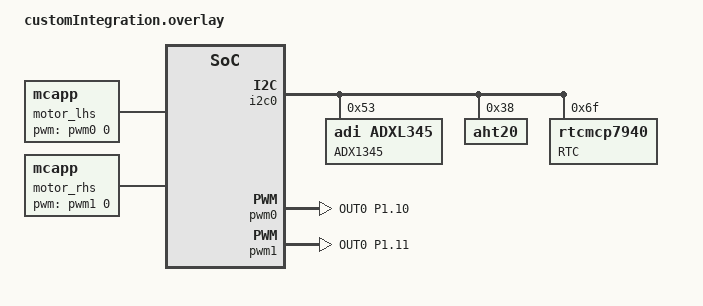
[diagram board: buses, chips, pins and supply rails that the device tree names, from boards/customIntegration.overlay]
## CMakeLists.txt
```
cmake_minimum_required(VERSION 3.20.0)



# Add our modules directory to Zephyr Modules
list(APPEND ZEPHYR_EXTRA_MODULES ${CMAKE_CURRENT_SOURCE_DIR}/modules)


# Set project, dts and board directories
set(PROJ_ROOT ${CMAKE_CURRENT_SOURCE_DIR}/)
set(DTS_ROOT ${CMAKE_CURRENT_SOURCE_DIR}/dts)
set(BOARD_ROOT ${CMAKE_CURRENT_LIST_DIR})


find_package(Zephyr REQUIRED HINTS $ENV{ZEPHYR_BASE})

project(BLESmartLock)



target_sources(app PRIVATE 
src/main.c
src/BLE/BLEapp.c
src/crypto/cryptoapp.c
src/motorcontrol/mcapp.c
src/System/bib.c
src/System/sys_flash.c
)


# Include application events and configuration headers
target_include_directories(app PRIVATE
  src
  src/BLE
  src/crypto
  src/motorcontrol
  src/System
)
```

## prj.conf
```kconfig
# Enable loggin
CONFIG_LOG=y


# Enable support for DK board
CONFIG_GPIO=y
CONFIG_DK_LIBRARY=y

# Enable bluetooth related flags
CONFIG_BT=y
CONFIG_BT_PERIPHERAL=y
CONFIG_BT_DEVICE_NAME="Smart_Lock"
CONFIG_BT_DEVICE_APPEARANCE=28
CONFIG_BT_LL_SOFTDEVICE=y
CONFIG_BT_BUF_ACL_RX_SIZE=251

# L2CAP SDU/PDU TX MTU
CONFIG_BT_L2CAP_TX_MTU=247


# internal Flash
CONFIG_FLASH=y
CONFIG_FLASH_PAGE_LAYOUT=y
CONFIG_MPU_ALLOW_FLASH_WRITE=y
CONFIG_SOC_FLASH_NRF_EMULATE_ONE_BYTE_WRITE_ACCESS=y
CONFIG_FCB=y
CONFIG_FLASH_MAP=y
CONFIG_SETTINGS=y
CONFIG_SETTINGS_FCB=y

# Sensor
CONFIG_I2C=y
CONFIG_SENSOR=y
CONFIG_ADXL345=y


CONFIG_CUSTOM_AHT20=y
CONFIG_CUSTOM_RTCMCP7940=y
CONFIG_CUSTOM_RTCMCP7940_LOG_LEVEL=4
CONFIG_CBPRINTF_FP_SUPPORT=y

# PWM
CONFIG_PWM=y


# cryptography
# Enable nordic security backend and PSA APIs
CONFIG_NRF_SECURITY=y
CONFIG_MBEDTLS_PSA_CRYPTO_C=y

CONFIG_MBEDTLS_ENABLE_HEAP=y
CONFIG_MBEDTLS_HEAP_SIZE=8192

CONFIG_PSA_WANT_GENERATE_RANDOM=y
CONFIG_PSA_WANT_KEY_TYPE_AES=y
CONFIG_PSA_WANT_ALG_CTR=y
```

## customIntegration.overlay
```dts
&i2c0 {
	adxl345@53 {
		compatible = "adi,adxl345";
			reg = < 0x53 >;
		label = "ADX1345";
		
			//interrupts = < 27 26 >;
		};

       aht20@38 {
        compatible = "zephyr,aht20";
        reg = <0x38>;
       };
};



&pinctrl {
    pwm0_custom_motor: pwm0_custom_motor {
        group1 {
            psels = <NRF_PSEL(PWM_OUT0, 1, 10)>;
            nordic,invert;
        };
    };

    pwm0_csleep_motor: pwm0_csleep_motor {
        group1 {
            psels = <NRF_PSEL(PWM_OUT0, 1, 10)>;
            low-power-enable;
        };
    };

	pwm1_custom_motor: pwm1_custom_motor {
        group1 {
            psels = <NRF_PSEL(PWM_OUT0, 1, 11)>;
            nordic,invert;
        };
    };

    pwm1_csleep_motor: pwm1_csleep_motor {
        group1 {
            psels = <NRF_PSEL(PWM_OUT0, 1, 11)>;
            low-power-enable;
        };
    };
};



&pwm0 {
    status = "okay";
    pinctrl-0 = <&pwm0_custom_motor>;
    pinctrl-1 = <&pwm0_csleep_motor>;
    pinctrl-names = "default", "sleep";
};


&pwm1 {
    status = "okay";
    pinctrl-0 = <&pwm1_custom_motor>;
    pinctrl-1 = <&pwm1_csleep_motor>;
    pinctrl-names = "default", "sleep";
};




/ {


    motor_lhs: motor_lhs {
		compatible = "zephyr,mcapp";
        pwms = <&pwm0 0 1000000 PWM_POLARITY_NORMAL>;  // P1.10, 1 kHz frequency
    };
    
    motor_rhs: motor_rhs {
		compatible = "zephyr,mcapp";
        pwms = <&pwm1 0 1000000 PWM_POLARITY_NORMAL>;  // P1.11, 1 kHz frequency
    };

};
```

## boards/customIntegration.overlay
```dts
&i2c0 {
	adxl345@53 {
		compatible = "adi,adxl345";
			reg = < 0x53 >;
		label = "ADX1345";
		
			//interrupts = < 27 26 >;
		};

       aht20@38 {
        compatible = "zephyr,aht20";
        reg = <0x38>;
        label = "AHT20";
       };

       rtcmcp7940@6F {
        compatible = "zephyr,rtcmcp7940";
        reg = <0x6F>;
        label = "RTC";
       };
};



&pinctrl {
    pwm0_custom_motor: pwm0_custom_motor {
        group1 {
            psels = <NRF_PSEL(PWM_OUT0, 1, 10)>;
            nordic,invert;
        };
    };

    pwm0_csleep_motor: pwm0_csleep_motor {
        group1 {
            psels = <NRF_PSEL(PWM_OUT0, 1, 10)>;
            low-power-enable;
        };
    };

	pwm1_custom_motor: pwm1_custom_motor {
        group1 {
            psels = <NRF_PSEL(PWM_OUT0, 1, 11)>;
            nordic,invert;
        };
    };

    pwm1_csleep_motor: pwm1_csleep_motor {
        group1 {
            psels = <NRF_PSEL(PWM_OUT0, 1, 11)>;
            low-power-enable;
        };
    };
};



&pwm0 {
    status = "okay";
    pinctrl-0 = <&pwm0_custom_motor>;
    pinctrl-1 = <&pwm0_csleep_motor>;
    pinctrl-names = "default", "sleep";
};


&pwm1 {
    status = "okay";
    pinctrl-0 = <&pwm1_custom_motor>;
    pinctrl-1 = <&pwm1_csleep_motor>;
    pinctrl-names = "default", "sleep";
};




/ {


    motor_lhs: motor_lhs {
		compatible = "zephyr,mcapp";
        pwms = <&pwm0 0 1000000 PWM_POLARITY_NORMAL>;  // P1.10, 1 kHz frequency
    };
    
    motor_rhs: motor_rhs {
		compatible = "zephyr,mcapp";
        pwms = <&pwm1 0 1000000 PWM_POLARITY_NORMAL>;  // P1.11, 1 kHz frequency
    };

};
```

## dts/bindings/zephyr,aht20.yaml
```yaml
description: AHT20 Temperature and Humidity Sensor over I2C

compatible: "zephyr,aht20"

include: [sensor-device.yaml, i2c-device.yaml ]
```

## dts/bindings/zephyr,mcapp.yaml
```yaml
description: Motor control

compatible: "zephyr,mcapp"

include: base.yaml

properties:
  pwms:
    required: true
    type: phandle-array
    description: PWM specifier for driving the motor
  
```

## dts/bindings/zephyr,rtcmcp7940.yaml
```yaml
description: Microchip I2C based RTC 

compatible: "zephyr,rtcmcp7940"

include: [ i2c-device.yaml ]


properties: 
  int-gpios:
    type: phandle-array
    description: |
      Host input connect to MCP7940 MFP open drain output pin
      
      Notifies when an alarm has triggered by asserting this line
```

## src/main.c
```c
#include "app_defines.h"
#include "BLE/BLEapp.h"
#include "crypto/cryptoapp.h"
#include <zephyr/drivers/sensor.h>
#include <stdio.h>
#include "motorcontrol/mcapp.h"
#include "System/bib.h"
#include "System/sys_flash.h"
#include <nrfx.h>
#include "RTCmcp7940.h"

LOG_MODULE_REGISTER(APPLICATION, LOG_LEVEL_DBG);

uint8_t buffer[50];

union byte_2byte
{
	uint16_t L;
	uint8_t B[2];
};
union byte_2byte com_conv_;

GLOBAL struct application_packet app_pack_ = {NULL};

uint8_t key[16] = 
{
	0x2b, 0x7e, 0x15, 0x16, 0x28, 0xae, 0xd2, 0xa6, 0xab, 0xf7, 0x15, 0x88, 0x09, 0xcf, 0x4f, 0x3c
};

/* Configurations */

LOCAL void button_handler(uint32_t button_state, uint32_t has_changed)
{
	int button_pressed = 0;
	int err;
	if (has_changed & button_state)
	{
		switch (has_changed)
		{
		case DK_BTN1_MSK:
			button_pressed = 1;
			break;
		case DK_BTN2_MSK:
			button_pressed = 2;
			break;
		case DK_BTN3_MSK:
			button_pressed = 3;
			break;
		case DK_BTN4_MSK:
			button_pressed = 4;
			break;
		default:
			break;
		}
		LOG_INF("Button %d pressed.", button_pressed);
		dk_set_led_on(DK_LED1);
		// lockBLE_.set_button_status(button_pressed);
		// err = lockBLE_.send_button_notification(lockBLE_.current_conn, button_pressed, 1);
		// if (err) {
		// 	LOG_ERR("couldn't send notification (err: %d)", err);
		// }

		// err = send_button_notification(button_pressed,1);

		sprintf(buffer, "Hello world: %d", button_pressed);
		err = send_lock_notification_text(buffer, strlen(buffer));
		if (err)
		{
			LOG_ERR("couldn't send notification (err: %d)", err);
		}
	}
}

LOCAL void configure_dk_buttons_leds(void)
{
	int err;

	err = dk_buttons_init(button_handler);
	if (err)
	{
		LOG_ERR("Cannot init buttons (err: %d)", err);
	}
	err = dk_leds_init();
	if (err)
	{
		LOG_ERR("Cannot init LEDs (err: %d)", err);
	}
}

static const char *now_str(void)
{
	static char buf[16]; /* ...HH:MM:SS.MMM */
	uint32_t now = k_uptime_get_32();
	unsigned int ms = now % MSEC_PER_SEC;
	unsigned int s;
	unsigned int min;
	unsigned int h;

	now /= MSEC_PER_SEC;
	s = now % 60U;
	now /= 60U;
	min = now % 60U;
	now /= 60U;
	h = now;

	snprintf(buf, sizeof(buf), "%u:%02u:%02u.%03u",
			 h, min, s, ms);
	return buf;
}

static int process_mpu6050(const struct device *dev)
{

	struct sensor_value accel[3];

	int rc = sensor_sample_fetch(dev);

	rc = sensor_channel_get(dev, SENSOR_CHAN_ACCEL_XYZ,
							accel);

	LOG_INF("[%s]:\n"
			"  accel %f %f %f m/s/s\n",
			now_str(),
			sensor_value_to_double(&accel[0]),
			sensor_value_to_double(&accel[1]),
			sensor_value_to_double(&accel[2]));

	return rc;
}

int main(void)
{
	LOG_INF("SmartLock Started...");

	const struct device *const adxl345 = DEVICE_DT_GET_ONE(adi_adxl345);

	if (!device_is_ready(adxl345))
	{
		LOG_INF("Device %s is not ready\n", adxl345->name);
		// return 0;
	}

	 const struct device *const aht20 = DEVICE_DT_GET_ONE(zephyr_aht20);
    if (!device_is_ready(aht20)) {
        LOG_ERR("AHT20 device not ready or not found");
        //return;
    }


		 const struct device *const RTC_MCP = DEVICE_DT_GET_ONE(zephyr_rtcmcp7940);
    if (!device_is_ready(RTC_MCP)) {
        LOG_ERR("RTC device not ready or not found");
        //return;
    }
	sys_flash_init();


	 sys_flash_erase(Priv_key,16);
	 sys_flash_write(Priv_key, (uint8_t *)key, Priv_Key_Size);

	sys_flash_read(Priv_key, (uint8_t *)app_pack_.Key, Priv_Key_Size);

    if(app_pack_.Key[0] == 0xff && app_pack_.Key[1] == 0xff && app_pack_.Key[2] == 0xff 
	&& app_pack_.Key[3] == 0xff && app_pack_.Key[4] == 0xff && app_pack_.Key[5] == 0xff 
	&& app_pack_.Key[6] == 0xff && app_pack_.Key[7] == 0xff && app_pack_.Key[8] == 0xff 
	&& app_pack_.Key[9] == 0xff && app_pack_.Key[10] == 0xff && app_pack_.Key[11] == 0xff 
	&& app_pack_.Key[12] == 0xff && app_pack_.Key[13] == 0xff && app_pack_.Key[14] == 0xff 
	&& app_pack_.Key[15] == 0xff )
	{
		sys_flash_write(Priv_key, (uint8_t *)key, Priv_Key_Size);
		sys_flash_read(Priv_key, (uint8_t *)app_pack_.Key, Priv_Key_Size);

	}

	sys_flash_read(lock_status_location, &app_pack_.lockUnlockStatus, lock_status_Size);

	if (app_pack_.lockUnlockStatus == 0xff || app_pack_.lockUnlockStatus == 0x00)
	{
		app_pack_.lockUnlockStatus = 0x01;
	}

	app_pack_.batteryPercentage = 90;

	LOG_HEXDUMP_INF(app_pack_.Key, 16, "Flash Key:");

	 uint32_t device_id_low = NRF_FICR->DEVICEID[0];
    uint32_t device_id_high = NRF_FICR->DEVICEID[1];

    // Combine into an 8-byte ID
    memcpy(&app_pack_.uniqueId[0], &device_id_low, 4);  // Copy low 4 bytes
    memcpy(&app_pack_.uniqueId[4], &device_id_high, 4); // Copy high 4 bytes


     LOG_HEXDUMP_INF(app_pack_.uniqueId, 8, "Unique 8-byte ID:");
	 
    app_pack_.mfg_data[0] = app_pack_.uniqueId[0];
	app_pack_.mfg_data[1] = app_pack_.uniqueId[1];
	app_pack_.mfg_data[2] = app_pack_.uniqueId[2];
	app_pack_.mfg_data[3] = app_pack_.uniqueId[3];
	app_pack_.mfg_data[4] = app_pack_.uniqueId[4];
	app_pack_.mfg_data[5] = app_pack_.uniqueId[5];
	app_pack_.mfg_data[6] = app_pack_.uniqueId[6];
	app_pack_.mfg_data[7] = app_pack_.uniqueId[7];
	app_pack_.mfg_data[8] = app_pack_.lockUnlockStatus;
	app_pack_.mfg_data[9] = 99;

	BLEapp_init();
	mcapp_init();

	RTCmcp7940_set_time(RTC_MCP,1734521409 );

	while (1)
	{

		int rc = process_mpu6050(adxl345);

		 struct sensor_value temp, hum;

		     sensor_sample_fetch(aht20);

            sensor_channel_get(aht20, SENSOR_CHAN_AMBIENT_TEMP, &temp);
            sensor_channel_get(aht20, SENSOR_CHAN_HUMIDITY, &hum);

            LOG_INF("Temperature: %d.%06d C, Humidity: %d.%06d %%", 
                    temp.val1, temp.val2, hum.val1, hum.val2);


 time_t time;
		RTCmcp7940_get_time(RTC_MCP,&time);

		    LOG_INF("Time in unix %ld",time);


		struct BLEapp_event evt = {0};
		BLEapp_event_manager_timed_get(&evt, K_MSEC(1000));

		BLEapp_loop(app_pack_.lockUnlockStatus,11);

		switch (evt.type)
		{

		case BLE_APP_EVENT_LOCK:
		{
			LOG_INF("*******LOCK SYSTEM*******");
			mcapp_speedDirection(mcapp_forward, 800);
			k_msleep(1000);
			mcapp_speedDirection(mcapp_forward, 0);
			app_pack_.lockUnlockStatus = 0x01;
			sys_flash_write(lock_status_location, &app_pack_.lockUnlockStatus, lock_status_Size);
			APP_EVENT_MANAGER_PUSH(BLE_APP_EVENT_ACK);
			break;
		}

		case BLE_APP_EVENT_UNLOCK:
		{
			LOG_INF("*******UNLOCK SYSTEM*******");
			mcapp_speedDirection(mcapp_backward, 800);
			k_msleep(1000);
			mcapp_speedDirection(mcapp_backward, 0);
			app_pack_.lockUnlockStatus = 0x02;
			sys_flash_write(lock_status_location, &app_pack_.lockUnlockStatus, lock_status_Size);
			APP_EVENT_MANAGER_PUSH(BLE_APP_EVENT_ACK);
			break;
		}

		case BLE_APP_EVENT_LOCK_STATUS:
		{
			LOG_INF("*******LOCK STATUS*******");
			uint16_t len = 0;
			app_pack_.msgBuf[0] = STX;
			len++;

			for (int i = 0; i < 8; i++)
			{
				app_pack_.msgBuf[i + 1] = app_pack_.uniqueId[i];
				len++;
			}

			app_pack_.msgBuf[9] = EM;
			len++;
			app_pack_.msgBuf[10] = STATUS;
			len++;
			app_pack_.msgBuf[11] = EM;
			len++;
			app_pack_.msgBuf[12] = LOCKSTATUS;
			len++;
			app_pack_.msgBuf[13] = EM;
			len++;
			app_pack_.msgBuf[14] = app_pack_.lockUnlockStatus;
			len++;
			app_pack_.msgBuf[15] = EM;
			len++;
			app_pack_.msgBuf[16] = 0x00;
			len++;
			app_pack_.msgBuf[17] = 0x01;
			len++;
			app_pack_.msgBuf[18] = ETX;
			len++;
			app_pack_.msgBuf[19] = EOT;
			len++;

			struct cryptoapp_packet TxmsgCrypto = {
				.key = app_pack_.Key,
				.key_size = sizeof(app_pack_.Key),
				.iv_buffer = app_pack_.TxivBuf,
				.iv_size = 16,
				.msgBuf = app_pack_.msgBuf,
				.msgBuf_size = len,
				.encryptedMsgBuf = app_pack_.TxEnCryptMsg,
				.encryptedMsgBuf_size = len,
			};

			cryptoapp_run(cryptoapp_impKeyndEncrypt, &TxmsgCrypto);

			app_pack_.TxCpltMsgLen = 0;
			app_pack_.TxCpltMsg[0] = SOH;
			app_pack_.TxCpltMsgLen++;
			for (int i = 0; i < 16; i++)
			{
				app_pack_.TxCpltMsg[i + 1] = app_pack_.TxivBuf[i];
				app_pack_.TxCpltMsgLen++;
			}
			app_pack_.TxCpltMsg[app_pack_.TxCpltMsgLen] = EM;
			app_pack_.TxCpltMsgLen++;

			for (int i = 0; i < len; i++)
			{
				app_pack_.TxCpltMsg[i + 1 + 17] = app_pack_.TxEnCryptMsg[i];
				app_pack_.TxCpltMsgLen++;
			}

			app_pack_.TxCpltMsg[app_pack_.TxCpltMsgLen] = EM;
			app_pack_.TxCpltMsgLen++;

			com_conv_.L = len;

			app_pack_.TxCpltMsg[app_pack_.TxCpltMsgLen] = com_conv_.B[1];
			app_pack_.TxCpltMsgLen++;
			app_pack_.TxCpltMsg[app_pack_.TxCpltMsgLen] = com_conv_.B[0];
			app_pack_.TxCpltMsgLen++;

			app_pack_.TxCpltMsg[app_pack_.TxCpltMsgLen] = EOT;
			app_pack_.TxCpltMsgLen++;

			LOG_HEXDUMP_INF(app_pack_.TxCpltMsg, app_pack_.TxCpltMsgLen, "Tx Data content:");

			send_lock_notification_text(app_pack_.TxCpltMsg, app_pack_.TxCpltMsgLen);

			break;
		}

		case BLE_APP_EVENT_BATTERY_LEVEL:
		{
			LOG_INF("*******BATTERY LEVEL*******");

			uint16_t len = 0;
			app_pack_.msgBuf[0] = STX;
			len++;

			for (int i = 0; i < 8; i++)
			{
				app_pack_.msgBuf[i + 1] = app_pack_.uniqueId[i];
				len++;
			}

			app_pack_.msgBuf[9] = EM;
			len++;
			app_pack_.msgBuf[10] = STATUS;
			len++;
			app_pack_.msgBuf[11] = EM;
			len++;
			app_pack_.msgBuf[12] = BATTERYLEVEL;
			len++;
			app_pack_.msgBuf[13] = EM;
			len++;
			app_pack_.msgBuf[14] = app_pack_.batteryPercentage;
			len++;
			app_pack_.msgBuf[15] = EM;
			len++;
			app_pack_.msgBuf[16] = 0x00;
			len++;
			app_pack_.msgBuf[17] = 0x01;
			len++;
			app_pack_.msgBuf[18] = ETX;
			len++;
			app_pack_.msgBuf[19] = EOT;
			len++;

			struct cryptoapp_packet TxmsgCrypto = {
				.key = app_pack_.Key,
				.key_size = sizeof(app_pack_.Key),
				.iv_buffer = app_pack_.TxivBuf,
				.iv_size = 16,
				.msgBuf = app_pack_.msgBuf,
				.msgBuf_size = len,
				.encryptedMsgBuf = app_pack_.TxEnCryptMsg,
				.encryptedMsgBuf_size = len,
			};

			cryptoapp_run(cryptoapp_impKeyndEncrypt, &TxmsgCrypto);

			app_pack_.TxCpltMsgLen = 0;
			app_pack_.TxCpltMsg[0] = SOH;
			app_pack_.TxCpltMsgLen++;
			for (int i = 0; i < 16; i++)
			{
				app_pack_.TxCpltMsg[i + 1] = app_pack_.TxivBuf[i];
				app_pack_.TxCpltMsgLen++;
			}
			app_pack_.TxCpltMsg[app_pack_.TxCpltMsgLen] = EM;
			app_pack_.TxCpltMsgLen++;

			for (int i = 0; i < len; i++)
			{
				app_pack_.TxCpltMsg[i + 1 + 17] = app_pack_.TxEnCryptMsg[i];
				app_pack_.TxCpltMsgLen++;
			}

			app_pack_.TxCpltMsg[app_pack_.TxCpltMsgLen] = EM;
			app_pack_.TxCpltMsgLen++;

			com_conv_.L = len;

			app_pack_.TxCpltMsg[app_pack_.TxCpltMsgLen] = com_conv_.B[1];
			app_pack_.TxCpltMsgLen++;
			app_pack_.TxCpltMsg[app_pack_.TxCpltMsgLen] = com_conv_.B[0];
			app_pack_.TxCpltMsgLen++;

			app_pack_.TxCpltMsg[app_pack_.TxCpltMsgLen] = EOT;
			app_pack_.TxCpltMsgLen++;

			LOG_HEXDUMP_INF(app_pack_.TxCpltMsg, app_pack_.TxCpltMsgLen, "Tx Data content:");

			send_lock_notification_text(app_pack_.TxCpltMsg, app_pack_.TxCpltMsgLen);

			break;
		}

		case BLE_APP_EVENT_SETTIMEDATE:
		{
			LOG_INF("*******SET TIME DATE*******");

			if (bib_parseTimeDateAndValidate(app_pack_.Data, &app_pack_.hour, &app_pack_.min, &app_pack_.sec, &app_pack_.date, &app_pack_.month, &app_pack_.year) == 0)
			{
				APP_EVENT_MANAGER_PUSH(BLE_APP_EVENT_ACK);
			}
			else
			{
				APP_EVENT_MANAGER_PUSH(BLE_APP_EVENT_NACK);
			}

			break;
		}

		case BLE_APP_EVENT_SETENCRYPTKEY:
		{
			LOG_INF("*******SET ENCRYPTION KEY*******");

			cryptoapp_init();
			if (cryptoapp_importKey(app_pack_.Data, app_pack_.dataLen) == cryptoapp_ok)
			{
				APP_EVENT_MANAGER_PUSH(BLE_APP_EVENT_ACK);
				sys_flash_write(Priv_key, (uint8_t *)app_pack_.Data, Priv_Key_Size);

				sys_flash_read(Priv_key, (uint8_t *)app_pack_.Key, Priv_Key_Size);
			}
			else
			{
				APP_EVENT_MANAGER_PUSH(BLE_APP_EVENT_NACK);
			}
			cryptoapp_finish();
			break;
		}

		case BLE_APP_EVENT_GETTIMEDATE:
		{
			LOG_INF("*******GET TIME DATE*******");

			uint16_t len = 0;

			char timebuf[50];

			sprintf(timebuf,"%02d:%02d:%02d|%02d/%02d/%02d",app_pack_.hour,app_pack_.min,app_pack_.sec
			                                               ,app_pack_.date,app_pack_.month,app_pack_.year);
			app_pack_.msgBuf[0] = STX;
			len++;

			for (int i = 0; i < 8; i++)
			{
				app_pack_.msgBuf[i + 1] = app_pack_.uniqueId[i];
				len++;
			}

			app_pack_.msgBuf[9] = EM;
			len++;
			app_pack_.msgBuf[10] = CONFIG;
			len++;
			app_pack_.msgBuf[11] = EM;
			len++;
			app_pack_.msgBuf[12] = GETTIMEDATE;
			len++;
			app_pack_.msgBuf[13] = EM;
			len++;
	         for (int i = 14; i < 31; i++)
			{
				app_pack_.msgBuf[i] = timebuf[i - 14];
				len++;
			}
			app_pack_.msgBuf[31] = EM;
			len++;
			app_pack_.msgBuf[32] = 0x00;
			len++;
			app_pack_.msgBuf[33] = 0x11;
			len++;
			app_pack_.msgBuf[34] = ETX;
			len++;
			app_pack_.msgBuf[35] = EOT;
			len++;

			struct cryptoapp_packet TxmsgCrypto = {
				.key = app_pack_.Key,
				.key_size = sizeof(app_pack_.Key),
				.iv_buffer = app_pack_.TxivBuf,
				.iv_size = 16,
				.msgBuf = app_pack_.msgBuf,
				.msgBuf_size = len,
				.encryptedMsgBuf = app_pack_.TxEnCryptMsg,
				.encryptedMsgBuf_size = len,
			};

			cryptoapp_run(cryptoapp_impKeyndEncrypt, &TxmsgCrypto);

			app_pack_.TxCpltMsgLen = 0;
			app_pack_.TxCpltMsg[0] = SOH;
			app_pack_.TxCpltMsgLen++;
			for (int i = 0; i < 16; i++)
			{
				app_pack_.TxCpltMsg[i + 1] = app_pack_.TxivBuf[i];
				app_pack_.TxCpltMsgLen++;
			}
			app_pack_.TxCpltMsg[app_pack_.TxCpltMsgLen] = EM;
			app_pack_.TxCpltMsgLen++;

			for (int i = 0; i < len; i++)
			{
				app_pack_.TxCpltMsg[i + 1 + 17] = app_pack_.TxEnCryptMsg[i];
				app_pack_.TxCpltMsgLen++;
			}

			app_pack_.TxCpltMsg[app_pack_.TxCpltMsgLen] = EM;
			app_pack_.TxCpltMsgLen++;

			com_conv_.L = len;

			app_pack_.TxCpltMsg[app_pack_.TxCpltMsgLen] = com_conv_.B[1];
			app_pack_.TxCpltMsgLen++;
			app_pack_.TxCpltMsg[app_pack_.TxCpltMsgLen] = com_conv_.B[0];
			app_pack_.TxCpltMsgLen++;

			app_pack_.TxCpltMsg[app_pack_.TxCpltMsgLen] = EOT;
			app_pack_.TxCpltMsgLen++;

			LOG_HEXDUMP_INF(app_pack_.TxCpltMsg, app_pack_.TxCpltMsgLen, "Tx Data content:");

			send_lock_notification_text(app_pack_.TxCpltMsg, app_pack_.TxCpltMsgLen);

			break;
		}

		case BLE_APP_EVENT_GETENCRYPTKEY:
		{
			LOG_INF("*******GET ENCRYPTION KEY*******");

			uint16_t len = 0;
			app_pack_.msgBuf[0] = STX;
			len++;

			for (int i = 0; i < 8; i++)
			{
				app_pack_.msgBuf[i + 1] = app_pack_.uniqueId[i];
				len++;
			}

			app_pack_.msgBuf[9] = EM;
			len++;
			app_pack_.msgBuf[10] = CONFIG;
			len++;
			app_pack_.msgBuf[11] = EM;
			len++;
			app_pack_.msgBuf[12] = GETENCRYPTIONKEY;
			len++;
			app_pack_.msgBuf[13] = EM;
			len++;
	         for (int i = 14; i < 30; i++)
			{
				app_pack_.msgBuf[i] = app_pack_.Key[i - 14];
				len++;
			}
			app_pack_.msgBuf[30] = EM;
			len++;
			app_pack_.msgBuf[31] = 0x00;
			len++;
			app_pack_.msgBuf[32] = 0x11;
			len++;
			app_pack_.msgBuf[33] = ETX;
			len++;
			app_pack_.msgBuf[34] = EOT;
			len++;

			struct cryptoapp_packet TxmsgCrypto = {
				.key = app_pack_.Key,
				.key_size = sizeof(app_pack_.Key),
				.iv_buffer = app_pack_.TxivBuf,
				.iv_size = 16,
				.msgBuf = app_pack_.msgBuf,
				.msgBuf_size = len,
				.encryptedMsgBuf = app_pack_.TxEnCryptMsg,
				.encryptedMsgBuf_size = len,
			};

			cryptoapp_run(cryptoapp_impKeyndEncrypt, &TxmsgCrypto);

			app_pack_.TxCpltMsgLen = 0;
			app_pack_.TxCpltMsg[0] = SOH;
			app_pack_.TxCpltMsgLen++;
			for (int i = 0; i < 16; i++)
			{
				app_pack_.TxCpltMsg[i + 1] = app_pack_.TxivBuf[i];
				app_pack_.TxCpltMsgLen++;
			}
			app_pack_.TxCpltMsg[app_pack_.TxCpltMsgLen] = EM;
			app_pack_.TxCpltMsgLen++;

			for (int i = 0; i < len; i++)
			{
				app_pack_.TxCpltMsg[i + 1 + 17] = app_pack_.TxEnCryptMsg[i];
				app_pack_.TxCpltMsgLen++;
			}

			app_pack_.TxCpltMsg[app_pack_.TxCpltMsgLen] = EM;
			app_pack_.TxCpltMsgLen++;

			com_conv_.L = len;

			app_pack_.TxCpltMsg[app_pack_.TxCpltMsgLen] = com_conv_.B[1];
			app_pack_.TxCpltMsgLen++;
			app_pack_.TxCpltMsg[app_pack_.TxCpltMsgLen] = com_conv_.B[0];
			app_pack_.TxCpltMsgLen++;

			app_pack_.TxCpltMsg[app_pack_.TxCpltMsgLen] = EOT;
			app_pack_.TxCpltMsgLen++;

			LOG_HEXDUMP_INF(app_pack_.TxCpltMsg, app_pack_.TxCpltMsgLen, "Tx Data content:");

			send_lock_notification_text(app_pack_.TxCpltMsg, app_pack_.TxCpltMsgLen);

			break;
		}

		case BLE_APP_EVENT_ACK:
		{
			LOG_INF("*******GENERATE ACK*******");
			/*Sending Ack*/
			uint16_t len = 0;
			app_pack_.msgBuf[0] = STX;
			len++;

			for (int i = 0; i < 8; i++)
			{
				app_pack_.msgBuf[i + 1] = app_pack_.uniqueId[i];
				len++;
			}

			app_pack_.msgBuf[9] = EM;
			len++;
			app_pack_.msgBuf[10] = ACKNACK;
			len++;
			app_pack_.msgBuf[11] = EM;
			len++;
			app_pack_.msgBuf[12] = ACK;
			len++;
			app_pack_.msgBuf[13] = EM;
			len++;
			app_pack_.msgBuf[14] = NUL;
			len++;
			app_pack_.msgBuf[15] = EM;
			len++;
			app_pack_.msgBuf[16] = 0x00;
			len++;
			app_pack_.msgBuf[17] = 0x00;
			len++;
			app_pack_.msgBuf[18] = ETX;
			len++;
			app_pack_.msgBuf[19] = EOT;
			len++;

			struct cryptoapp_packet TxmsgCrypto = {
				.key = app_pack_.Key,
				.key_size = sizeof(app_pack_.Key),
				.iv_buffer = app_pack_.TxivBuf,
				.iv_size = 16,
				.msgBuf = app_pack_.msgBuf,
				.msgBuf_size = len,
				.encryptedMsgBuf = app_pack_.TxEnCryptMsg,
				.encryptedMsgBuf_size = len,
			};

			cryptoapp_run(cryptoapp_impKeyndEncrypt, &TxmsgCrypto);

			app_pack_.TxCpltMsgLen = 0;
			app_pack_.TxCpltMsg[0] = SOH;
			app_pack_.TxCpltMsgLen++;
			for (int i = 0; i < 16; i++)
			{
				app_pack_.TxCpltMsg[i + 1] = app_pack_.TxivBuf[i];
				app_pack_.TxCpltMsgLen++;
			}
			app_pack_.TxCpltMsg[app_pack_.TxCpltMsgLen] = EM;
			app_pack_.TxCpltMsgLen++;

			for (int i = 0; i < len; i++)
			{
				app_pack_.TxCpltMsg[i + 1 + 17] = app_pack_.TxEnCryptMsg[i];
				app_pack_.TxCpltMsgLen++;
			}

			app_pack_.TxCpltMsg[app_pack_.TxCpltMsgLen] = EM;
			app_pack_.TxCpltMsgLen++;

			com_conv_.L = len;

			app_pack_.TxCpltMsg[app_pack_.TxCpltMsgLen] = com_conv_.B[1];
			app_pack_.TxCpltMsgLen++;
			app_pack_.TxCpltMsg[app_pack_.TxCpltMsgLen] = com_conv_.B[0];
			app_pack_.TxCpltMsgLen++;

			app_pack_.TxCpltMsg[app_pack_.TxCpltMsgLen] = EOT;
			app_pack_.TxCpltMsgLen++;

			LOG_HEXDUMP_INF(app_pack_.TxCpltMsg, app_pack_.TxCpltMsgLen, "Tx Data content:");

			send_lock_notification_text(app_pack_.TxCpltMsg, app_pack_.TxCpltMsgLen);
			break;
		}

		case BLE_APP_EVENT_NACK:
		{
			LOG_INF("*******GENERATE NACK*******");
			/*Sending NAck*/
			uint16_t len = 0;
			app_pack_.msgBuf[0] = STX;
			len++;

			for (int i = 0; i < 8; i++)
			{
				app_pack_.msgBuf[i + 1] = app_pack_.uniqueId[i];
				len++;
			}

			app_pack_.msgBuf[9] = EM;
			len++;
			app_pack_.msgBuf[10] = ACKNACK;
			len++;
			app_pack_.msgBuf[11] = EM;
			len++;
			app_pack_.msgBuf[12] = NACK;
			len++;
			app_pack_.msgBuf[13] = EM;
			len++;
			app_pack_.msgBuf[14] = NUL;
			len++;
			app_pack_.msgBuf[15] = EM;
			len++;
			app_pack_.msgBuf[16] = 0x00;
			len++;
			app_pack_.msgBuf[17] = 0x00;
			len++;
			app_pack_.msgBuf[18] = ETX;
			len++;
			app_pack_.msgBuf[19] = EOT;
			len++;

			struct cryptoapp_packet TxmsgCrypto = {
				.key = app_pack_.Key,
				.key_size = sizeof(app_pack_.Key),
				.iv_buffer = app_pack_.TxivBuf,
				.iv_size = 16,
				.msgBuf = app_pack_.msgBuf,
				.msgBuf_size = len,
				.encryptedMsgBuf = app_pack_.TxEnCryptMsg,
				.encryptedMsgBuf_size = len,
			};

			cryptoapp_run(cryptoapp_impKeyndEncrypt, &TxmsgCrypto);

			app_pack_.TxCpltMsgLen = 0;
			app_pack_.TxCpltMsg[0] = SOH;
			app_pack_.TxCpltMsgLen++;
			for (int i = 0; i < 16; i++)
			{
				app_pack_.TxCpltMsg[i + 1] = app_pack_.TxivBuf[i];
				app_pack_.TxCpltMsgLen++;
			}
			app_pack_.TxCpltMsg[app_pack_.TxCpltMsgLen] = EM;
			app_pack_.TxCpltMsgLen++;

			for (int i = 0; i < len; i++)
			{
				app_pack_.TxCpltMsg[i + 1 + 17] = app_pack_.TxEnCryptMsg[i];
				app_pack_.TxCpltMsgLen++;
			}

			app_pack_.TxCpltMsg[app_pack_.TxCpltMsgLen] = EM;
			app_pack_.TxCpltMsgLen++;

			com_conv_.L = len;

			app_pack_.TxCpltMsg[app_pack_.TxCpltMsgLen] = com_conv_.B[1];
			app_pack_.TxCpltMsgLen++;
			app_pack_.TxCpltMsg[app_pack_.TxCpltMsgLen] = com_conv_.B[0];
			app_pack_.TxCpltMsgLen++;

			app_pack_.TxCpltMsg[app_pack_.TxCpltMsgLen] = EOT;
			app_pack_.TxCpltMsgLen++;

			LOG_HEXDUMP_INF(app_pack_.TxCpltMsg, app_pack_.TxCpltMsgLen, "Tx Data content:");

			send_lock_notification_text(app_pack_.TxCpltMsg, app_pack_.TxCpltMsgLen);
			break;
		}

		case BLE_APP_EVENT_MSG_RECV:
		{
			LOG_INF("BLE MEssage Received");

			if (!bib_parseMainMsg(app_pack_.BlemsgBuf, app_pack_.BlemsgLength, app_pack_.BLEivBuf, app_pack_.BLEencryptBuf, &app_pack_.BLEencryptBufLen))
			{

              if(memcmp(app_pack_.BLEivBuf,app_pack_.BLEPrevivBuf,16) != 0)
				{
					memcpy(app_pack_.BLEPrevivBuf,app_pack_.BLEivBuf,16);
				LOG_HEXDUMP_INF(app_pack_.BLEivBuf, 16, "IV counter:");
				
				LOG_INF("CipherLength: %d", app_pack_.BLEencryptBufLen);
				LOG_HEXDUMP_INF(app_pack_.BLEencryptBuf, app_pack_.BLEencryptBufLen, "Encryptbuf:");

				struct cryptoapp_packet BlemsgCrypto = {
					.key = app_pack_.Key,
					.key_size = sizeof(app_pack_.Key),
					.iv_buffer = app_pack_.BLEivBuf,
					.iv_size = 16,
					.encryptedMsgBuf = app_pack_.BLEencryptBuf,
					.encryptedMsgBuf_size = app_pack_.BLEencryptBufLen,
					.decryptedMsgBuf = app_pack_.BLEdecryptBuf,
					.decryptedMsgBuf_size = app_pack_.BLEencryptBufLen,
				};

				cryptoapp_run(cryptoapp_impKeyndDecrypt, &BlemsgCrypto);

				if (!bib_parseInnerMsg(app_pack_.BLEdecryptBuf, app_pack_.BLEencryptBufLen, app_pack_.BLEuniqueId, &app_pack_.datatype, &app_pack_.msgid, app_pack_.Data, &app_pack_.dataLen))
				{

					LOG_HEXDUMP_INF(app_pack_.BLEuniqueId, 8, "UniqueId Recved:");
					if(strcmp(app_pack_.BLEuniqueId, app_pack_.uniqueId) == 0 )
					{
					LOG_INF("DataType : %d", app_pack_.datatype);
					LOG_INF("MessageId: %d", app_pack_.msgid);
					LOG_INF("Data len : %d", app_pack_.dataLen);
					LOG_HEXDUMP_INF(app_pack_.Data, app_pack_.dataLen, "Data:");

					switch (app_pack_.datatype)
					{
					case CMD:
					{
						switch (app_pack_.msgid)
						{
						case LOCK:
						{
							APP_EVENT_MANAGER_PUSH(BLE_APP_EVENT_LOCK);
							break;
						}

						case UNLOCK:
						{
							APP_EVENT_MANAGER_PUSH(BLE_APP_EVENT_UNLOCK);
							break;
						}
						default:
						{
							APP_EVENT_MANAGER_PUSH(BLE_APP_EVENT_NACK);
							break;
						}
						}

						break;
					}

					case STATUS:
					{
						switch (app_pack_.msgid)
						{
						case LOCKSTATUS:
						{
							APP_EVENT_MANAGER_PUSH(BLE_APP_EVENT_LOCK_STATUS);
							break;
						}

						case BATTERYLEVEL:
						{
							APP_EVENT_MANAGER_PUSH(BLE_APP_EVENT_BATTERY_LEVEL);
							break;
						}

						default:
						{
							APP_EVENT_MANAGER_PUSH(BLE_APP_EVENT_NACK);
							break;
						}
						}

						break;
					}

					case CONFIG:
					{
						switch (app_pack_.msgid)
						{
						case SETTIMEDATE:
						{
							APP_EVENT_MANAGER_PUSH(BLE_APP_EVENT_SETTIMEDATE);
							break;
						}

						case SETENCRYPTIONKEY:
						{
							APP_EVENT_MANAGER_PUSH(BLE_APP_EVENT_SETENCRYPTKEY);
							break;
						}

						case GETTIMEDATE:
						{
							APP_EVENT_MANAGER_PUSH(BLE_APP_EVENT_GETTIMEDATE);
							break;
						}

						case GETENCRYPTIONKEY:
						{

							APP_EVENT_MANAGER_PUSH(BLE_APP_EVENT_GETENCRYPTKEY);
							break;
						}
						default:
						{
							APP_EVENT_MANAGER_PUSH(BLE_APP_EVENT_NACK);
							break;
						}
						}

						break;
					}

					default:
					{
						APP_EVENT_MANAGER_PUSH(BLE_APP_EVENT_NACK);
						break;
					}
					}
					}
					else
					{
	                      APP_EVENT_MANAGER_PUSH(BLE_APP_EVENT_NACK);
					}
				
				
				}
				else
				{
					APP_EVENT_MANAGER_PUSH(BLE_APP_EVENT_NACK);
				}
			
				}
				else
				{
                     
                    LOG_ERR("*****INTRUDER*****");
				}
			
			}
			else
			{

				/*To do*/

				 LOG_ERR("Wrong Encryption, Therefore Discarding it");
			}
			break;
		}

		

		default:
		{

			break;
		}
		}
	}
	return 0;
}
```

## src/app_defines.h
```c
#ifndef _APP_DEFINES_H_
#define _APP_DEFINES_H_


#include <zephyr/kernel.h>
#include <zephyr/sys/util.h>
#include <zephyr/devicetree.h>
#include <zephyr/drivers/gpio.h>
#include <zephyr/settings/settings.h>
#include <stddef.h>
#include <dk_buttons_and_leds.h>
#include <zephyr/logging/log.h>
#include <zephyr/bluetooth/bluetooth.h>
#include <zephyr/bluetooth/hci.h>
#include <zephyr/bluetooth/conn.h>
#include <zephyr/bluetooth/uuid.h>
#include <zephyr/bluetooth/gatt.h>




#define GLOBAL
#define LOCAL static

#define RUN_STATUS_LED DK_LED1
#define CONN_STATUS_LED DK_LED2
#define RUN_LED_BLINK_INTERVAL 1000



enum commands {
    
    NUL = 0x00,
    SOH = 0x01,
    STX = 0x02,
    ETX = 0x03,
    EOT = 0x04,
    EM  = 0x19,

    CMD = 0x01,
    STATUS = 0x02,
    CONFIG = 0x03, 
    ACKNACK = 0x04, 

    LOCK = 0x01,
    UNLOCK = 0x02,

    LOCKSTATUS = 0x01,
    BATTERYLEVEL = 0x02,

    SETTIMEDATE = 0x11,
    SETENCRYPTIONKEY = 0x21,
    GETTIMEDATE = 0x12,
    GETENCRYPTIONKEY = 0x22,

    ACK = 0x06,
    NACK = 0x15,
  

};



struct application_packet {
    uint8_t Key[16];
    uint8_t lockUnlockStatus;
    uint8_t batteryPercentage;


    uint8_t hour;
    uint8_t min;
    uint8_t sec;
    uint8_t date;
    uint8_t month;
    uint8_t year;
    





    uint8_t BlemsgBuf[255];
    uint16_t BlemsgLength;
    uint8_t BLEcryptoKey[16]; /*Priv Key*/
    uint8_t BLEPrevivBuf[16];
    uint8_t BLEivBuf[16];     /*Counter buffer used in AES CTR*/
    uint8_t BLEencryptBuf[255];                  /*Encrypted Data Buffer*/
    uint8_t BLEdecryptBuf[255];                  /*Decrypted Data Buffer*/
    uint16_t BLEencryptBufLen;
    uint16_t BLEdecryptBufLen;
    uint8_t BLEuniqueId[8];


     uint8_t uniqueId[8];
     uint8_t datatype;
     uint8_t msgid;
     uint8_t Data[255];
     uint16_t dataLen;

         
    uint8_t msgBuf[255]; /*Main buffer*/
    uint16_t msgLength;
    uint8_t TxivBuf[16];
    uint8_t TxEnCryptMsg[255];
    uint16_t TxEnCryptMsgLen;
    uint8_t TxCpltMsg[255];
    uint16_t TxCpltMsgLen;
    


    /*BLE related*/
    uint8_t mfg_data[20]; /*Manufacturing Data*/




};




extern struct application_packet app_pack_; /*All the stuff related in application will be shared using this*/ 

#endif
```
